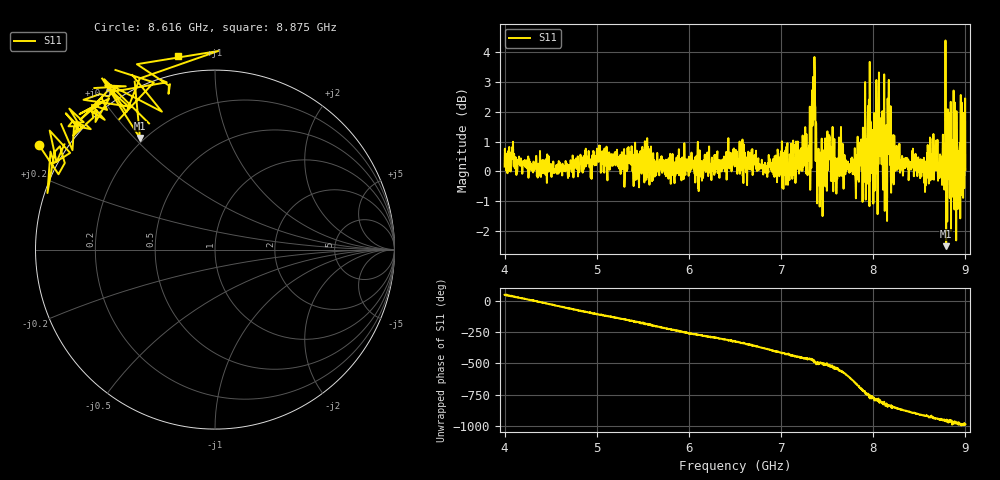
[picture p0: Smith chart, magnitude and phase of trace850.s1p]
! Created with skrf 1.8.0 (http://scikit-rf.org).
# Hz S RI R 50.0
!freq ReS11 ImS11
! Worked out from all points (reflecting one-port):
!   1601 points, 4 GHz to 9 GHz, reference 50 ohm
!   lowest |S11| = -2.5 dB at 8.791 GHz (marker M1), VSWR 6.96, Z = 9.17 + j25.9 ohm
!   phase of S11 starts at 51 deg and turns -1040 deg over the sweep
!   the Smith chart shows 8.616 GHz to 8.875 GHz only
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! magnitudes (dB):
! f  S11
! 4 GHz  0.2
! 4.625 GHz  -0.1
! 5.25 GHz  0.1
! 5.875 GHz  0.2
! 6.5 GHz  0.3
! 7.125 GHz  0.2
! 7.303 GHz  0.3
! 7.356 GHz  2.8
! 7.4 GHz  0.3
! 7.425 GHz  0.1
! 7.512 GHz  1.0
! 7.588 GHz  -0.1
! 7.65 GHz  1.5
! 7.75 GHz  0.2
! 7.819 GHz  0.1
! 7.95 GHz  1.3
! 8.003 GHz  -1.0
! 8.053 GHz  1.1
! 8.128 GHz  1.2
! 8.178 GHz  1.6
! 8.216 GHz  1.2
! 8.375 GHz  0.2
! 8.725 GHz  0.6
! 8.791 GHz  -2.5
! 8.897 GHz  0.8
! 8.919 GHz  0.5
! 8.972 GHz  1.3
! 9 GHz  0.0
